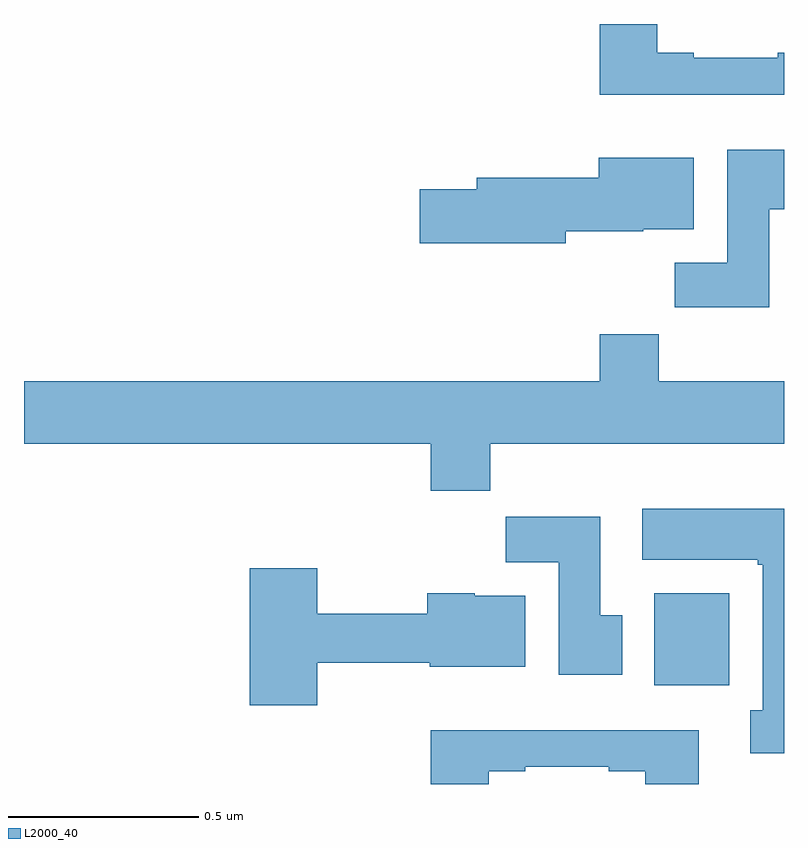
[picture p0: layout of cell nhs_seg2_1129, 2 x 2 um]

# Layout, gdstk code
import gdstk
lib = gdstk.Library(unit=1e-6, precision=1e-09)
def R(c, l, rs):  # rectangles x0, y0, x1, y1
    for r in rs: c.add(gdstk.rectangle(r[:2], r[2:], *l))
def P(c, l, *ps):  # polygons
    for p in ps: c.add(gdstk.Polygon(p, *l))
L2000_40 = (2000, 40)

nhs_seg2_1129 = lib.new_cell('nhs_seg2_1129')
R(nhs_seg2_1129, L2000_40, [(126.659,587.06,126.856,587.302)])
P(nhs_seg2_1129, L2000_40, [(127,588.724),(126.983,588.724),(126.983,588.711),(126.763,588.711),(126.763,588.724),(126.667,588.724),(126.667,588.8),(126.515,588.8),(126.515,588.614),(127,588.614)],
  [(126.961,588.313),(127,588.313),(127,588.469),(126.851,588.469),(126.851,588.172),(126.712,588.172),(126.712,588.054),(126.961,588.054)],
  [(126.426,588.254),(126.63,588.254),(126.63,588.26),(126.763,588.26),(126.763,588.448),(126.512,588.448),(126.512,588.395),(126.191,588.395),(126.191,588.365),(126.042,588.365),(126.042,588.223),(126.426,588.223)],
  [(126.227,587.696),(127,587.696),(127,587.86),(126.671,587.86),(126.671,587.984),(126.515,587.984),(126.515,587.86),(125,587.86),(125,587.696),(126.071,587.696),(126.071,587.572),(126.227,587.572)],
  [(127,587.524),(126.627,587.524),(126.627,587.39),(126.931,587.39),(126.931,587.377),(126.944,587.377),(126.944,586.994),(126.911,586.994),(126.911,586.881),(127,586.881)],
  [(126.574,587.244),(126.517,587.244),(126.517,587.503),(126.268,587.503),(126.268,587.384),(126.407,587.384),(126.407,587.088),(126.574,587.088)],
  [(125.772,587.119),(126.068,587.119),(126.068,587.108),(126.319,587.108),(126.319,587.296),(126.186,587.296),(126.186,587.302),(126.061,587.302),(126.061,587.248),(125.772,587.248),(125.772,587.368),(125.594,587.368),(125.594,587.007),(125.772,587.007)],
  [(126.223,586.833),(126.319,586.833),(126.319,586.845),(126.539,586.845),(126.539,586.833),(126.635,586.833),(126.635,586.8),(126.775,586.8),(126.775,586.942),(126.071,586.942),(126.071,586.8),(126.223,586.8)])

lib.write_gds('nhs_seg2_1129.gds')
